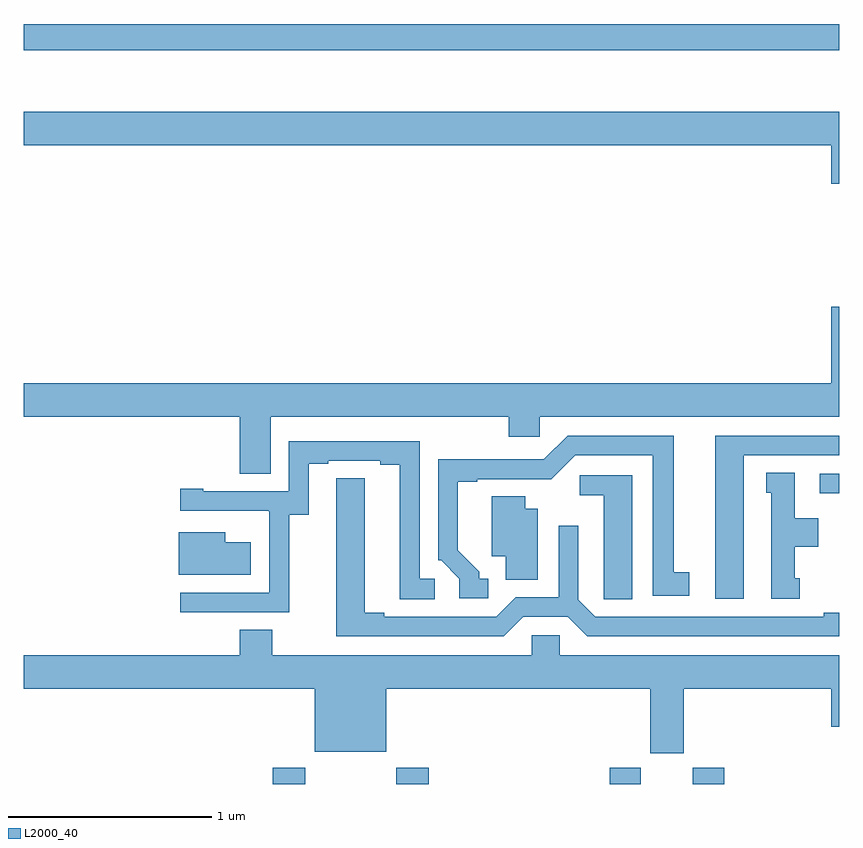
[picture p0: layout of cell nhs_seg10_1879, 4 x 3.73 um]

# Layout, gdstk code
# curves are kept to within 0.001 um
import gdstk
lib = gdstk.Library(unit=1e-6, precision=1e-09)
def R(c, l, rs):  # rectangles x0, y0, x1, y1
    for r in rs: c.add(gdstk.rectangle(r[:2], r[2:], *l))
def P(c, l, *ps):  # polygons
    for p in ps: c.add(gdstk.Polygon(p, *l))
L2000_40 = (2000, 40)

nhs_seg10_1879 = lib.new_cell('nhs_seg10_1879')
R(nhs_seg10_1879, L2000_40, [(210.221,1314.5,210.381,1314.58), (210.826,1314.5,210.986,1314.58), (211.874,1314.5,212.026,1314.579), (212.282,1314.5,212.435,1314.579), (212.904,1315.926,213,1316.022), (209,1318.098,213,1318.226)])
P(nhs_seg10_1879, L2000_40, [(213,1317.796),(209,1317.796),(209,1317.632),(212.96,1317.632),(212.96,1317.444),(213,1317.444)],
  [(210.211,1316.3),(211.379,1316.3),(211.379,1316.202),(211.53,1316.202),(211.53,1316.3),(213,1316.3),(213,1316.839),(212.96,1316.839),(212.96,1316.464),(209,1316.464),(209,1316.3),(210.059,1316.3),(210.059,1316.02),(210.211,1316.02)],
  [(212.53,1316.112),(213,1316.112),(213,1316.208),(212.39,1316.208),(212.39,1315.407),(212.53,1315.407)],
  [(211.279,1315.506),(211.234,1315.506),(211.234,1315.541),(211.129,1315.646),(211.129,1315.983),(211.225,1315.983),(211.225,1315.995),(211.586,1315.994),(211.704,1316.112),(212.084,1316.112),(212.084,1315.422),(212.263,1315.422),(212.263,1315.538),(212.188,1315.538),(212.188,1316.208),(211.668,1316.208),(211.551,1316.091),(211.295,1316.091),(211.295,1316.093),(211.032,1316.093),(211.032,1315.596),(211.047,1315.596),(211.137,1315.506),(211.137,1315.41),(211.279,1315.41)],
  [(210.303,1315.819),(210.397,1315.819),(210.397,1316.07),(210.493,1316.07),(210.493,1316.085),(210.749,1316.085),(210.749,1316.065),(210.845,1316.065),(210.845,1315.405),(211.015,1315.405),(211.015,1315.506),(210.942,1315.506),(210.942,1316.181),(210.3,1316.181),(210.3,1315.935),(209.881,1315.935),(209.881,1315.948),(209.769,1315.948),(209.769,1315.839),(210.203,1315.839),(210.203,1315.838),(210.204,1315.838),(210.204,1315.437),(209.769,1315.437),(209.769,1315.341),(210.303,1315.341)],
  [(212.806,1315.509),(212.782,1315.509),(212.782,1315.664),(212.896,1315.664),(212.896,1315.804),(212.782,1315.804),(212.782,1316.027),(212.642,1316.027),(212.642,1315.929),(212.666,1315.929),(212.666,1315.407),(212.806,1315.407)],
  [(211.984,1316.013),(211.728,1316.013),(211.728,1315.916),(211.844,1315.916),(211.844,1315.513),(211.845,1315.513),(211.845,1315.405),(211.984,1315.405)],
  [(211.449,1315.32),(211.667,1315.32),(211.763,1315.224),(213,1315.224),(213,1315.34),(212.924,1315.34),(212.924,1315.32),(211.803,1315.32),(211.719,1315.404),(211.719,1315.765),(211.623,1315.765),(211.623,1315.416),(211.413,1315.416),(211.317,1315.32),(210.769,1315.32),(210.769,1315.34),(210.673,1315.34),(210.673,1316),(210.534,1316),(210.533,1315.224),(211.353,1315.224)],
  [(211.522,1315.849),(211.459,1315.849),(211.459,1315.91),(211.295,1315.91),(211.295,1315.616),(211.364,1315.616),(211.364,1315.501),(211.522,1315.501)],
  [(210.115,1315.684),(209.989,1315.684),(209.989,1315.735),(209.762,1315.735),(209.762,1315.526),(210.115,1315.526)],
  [(212.236,1314.968),(212.96,1314.968),(212.96,1314.78),(213,1314.78),(213,1315.132),(211.629,1315.132),(211.629,1315.23),(211.491,1315.23),(211.491,1315.132),(210.219,1315.132),(210.219,1315.256),(210.059,1315.256),(210.059,1315.132),(209,1315.132),(209,1314.968),(210.428,1314.968),(210.428,1314.659),(210.778,1314.659),(210.778,1314.968),(212.072,1314.968),(212.072,1314.651),(212.236,1314.651)])

lib.write_gds('nhs_seg10_1879.gds')
